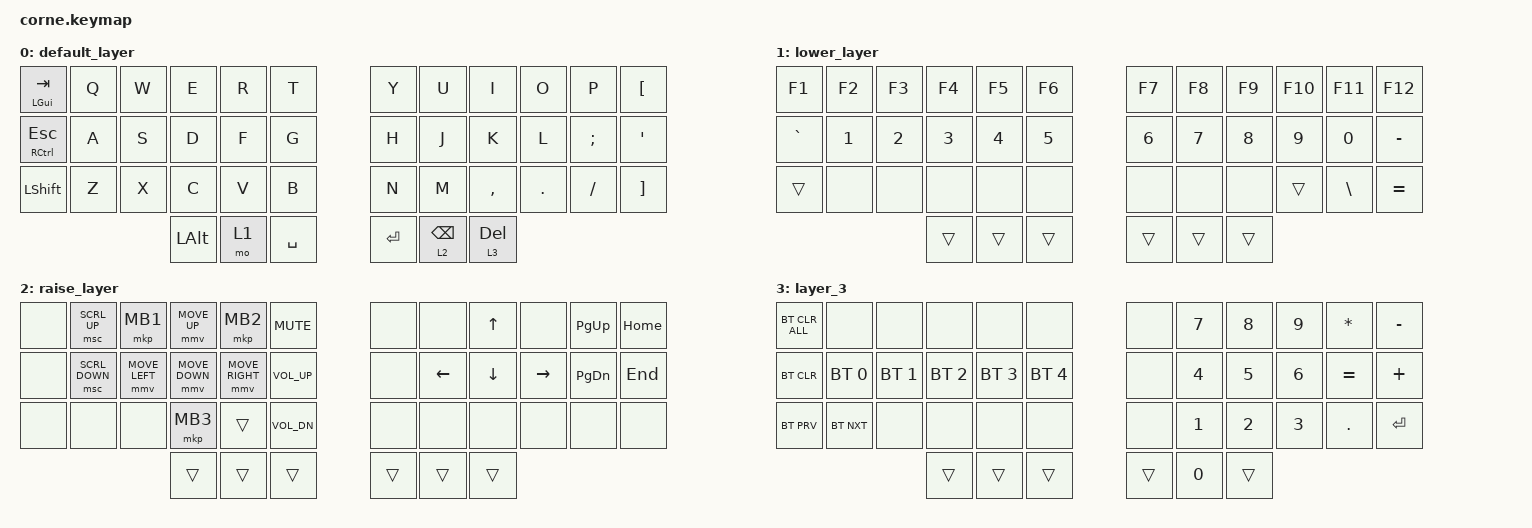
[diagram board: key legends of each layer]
/*
 * Copyright (c) 2020 The ZMK Contributors
 *
 * SPDX-License-Identifier: MIT
 */

#include <behaviors.dtsi>
#include <dt-bindings/zmk/bt.h>
#include <dt-bindings/zmk/keys.h>
#include <dt-bindings/zmk/pointing.h>
#include <dt-bindings/zmk/pointing.h>
#include <dt-bindings/zmk/pointing.h>

/ {
    keymap {
        compatible = "zmk,keymap";

        default_layer {
            // -----------------------------------------------------------------------------------------
            // |  TAB |  Q  |  W  |  E  |  R  |  T  |   |  Y  |  U   |  I  |  O  |  P  | BSPC |
            // | CTRL |  A  |  S  |  D  |  F  |  G  |   |  H  |  J   |  K  |  L  |  ;  |  '   |
            // | SHFT |  Z  |  X  |  C  |  V  |  B  |   |  N  |  M   |  ,  |  .  |  /  | ESC  |
            //                    | GUI | LWR | SPC |   | ENT | RSE  | ALT |

            bindings = <
&mt LEFT_GUI TAB  &kp Q  &kp W  &kp E         &kp R  &kp T        &kp Y    &kp U            &kp I      &kp O    &kp P     &kp LBKT
&mt RCTRL ESC     &kp A  &kp S  &kp D         &kp F  &kp G        &kp H    &kp J            &kp K      &kp L    &kp SEMI  &kp SQT
&kp LSHFT         &kp Z  &kp X  &kp C         &kp V  &kp B        &kp N    &kp M            &kp COMMA  &kp DOT  &kp FSLH  &kp RIGHT_BRACKET
                                &kp LEFT_ALT  &mo 1  &kp SPACE    &kp RET  &lt 2 BACKSPACE  &lt 3 DEL
            >;
        };

        lower_layer {
            // -----------------------------------------------------------------------------------------
            // |  TAB |  1  |  2  |  3  |  4  |  5  |   |  6  |  7  |  8  |  9  |  0  | BSPC |
            // | BTCLR| BT1 | BT2 | BT3 | BT4 | BT5 |   | LFT | DWN |  UP | RGT |     |      |
            // | SHFT |     |     |     |     |     |   |     |     |     |     |     |      |
            //                    | GUI |     | SPC |   | ENT |     | ALT |

            bindings = <
&kp F1     &kp F2  &kp F3  &kp F4  &kp F5  &kp F6    &kp F7  &kp F8  &kp F9  &kp F10  &kp F11        &kp F12
&kp GRAVE  &kp N1  &kp N2  &kp N3  &kp N4  &kp N5    &kp N6  &kp N7  &kp N8  &kp N9   &kp N0         &kp MINUS
&trans     &none   &none   &none   &none   &none     &none   &none   &none   &trans   &kp BACKSLASH  &kp EQUAL
                           &trans  &trans  &trans    &trans  &trans  &trans
            >;
        };

        raise_layer {
            // -----------------------------------------------------------------------------------------
            // |  TAB |  !  |  @  |  #  |  $  |  %  |   |  ^  |  &  |  *  |  (  |  )  | BSPC |
            // | CTRL |     |     |     |     |     |   |  -  |  =  |  [  |  ]  |  \  |  `   |
            // | SHFT |     |     |     |     |     |   |  _  |  +  |  {  |  }  | "|" |  ~   |
            //                    | GUI |     | SPC |   | ENT |     | ALT |

            bindings = <
&none  &msc SCRL_UP    &mkp MB1        &mmv MOVE_UP    &mkp MB2         &kp K_MUTE      &none   &none     &kp UP    &none      &kp PG_UP  &kp HOME
&none  &msc SCRL_DOWN  &mmv MOVE_LEFT  &mmv MOVE_DOWN  &mmv MOVE_RIGHT  &kp C_VOL_UP    &none   &kp LEFT  &kp DOWN  &kp RIGHT  &kp PG_DN  &kp END
&none  &none           &none           &mkp MB3        &trans           &kp C_VOL_DN    &none   &none     &none     &none      &none      &none
                                       &trans          &trans           &trans          &trans  &trans    &trans
            >;
        };

        layer_3 {
            bindings = <
&bt BT_CLR_ALL  &none         &none         &none         &none         &none           &none   &kp N7  &kp N8  &kp N9  &kp ASTERISK  &kp MINUS
&bt BT_CLR      &bt BT_SEL 0  &bt BT_SEL 1  &bt BT_SEL 2  &bt BT_SEL 3  &bt BT_SEL 4    &none   &kp N4  &kp N5  &kp N6  &kp EQUAL     &kp PLUS
&bt BT_PRV      &bt BT_NXT    &none         &none         &none         &none           &none   &kp N1  &kp N2  &kp N3  &kp PERIOD    &kp ENTER
                                            &trans        &trans        &trans          &trans  &kp N0  &trans
            >;
        };
    };
};
